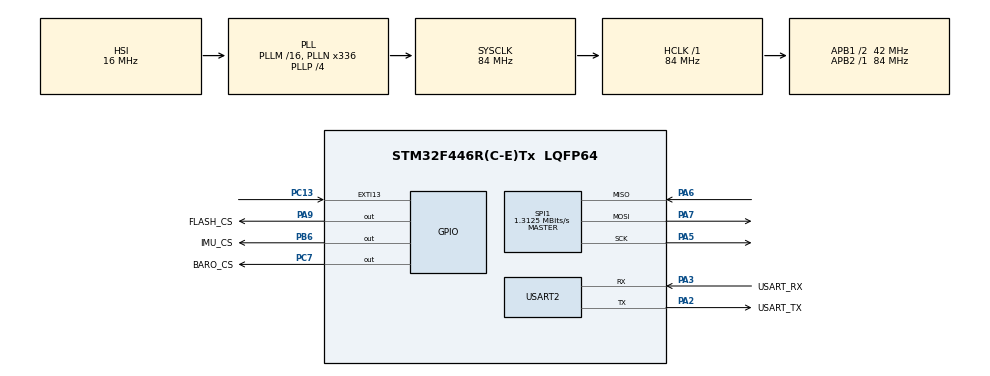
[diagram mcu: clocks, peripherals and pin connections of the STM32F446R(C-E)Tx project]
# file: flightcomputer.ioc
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Mcu.Family=STM32F4
Mcu.Name=STM32F446R(C-E)Tx
Mcu.Package=LQFP64
NUCLEO-F446RE.BUTTON=1
NUCLEO-F446RE.LD1=false
NVIC.EXTI15_10_IRQn=true\:0\:0\:false\:false\:true\:false\:true\:true
NVIC.PriorityGroup=NVIC_PRIORITYGROUP_0
PA13.GPIO_Label=TMS
PA13.Mode=Serial_Wire
PA13.Signal=SYS_JTMS-SWDIO
PA14.GPIO_Label=TCK
PA14.Mode=Serial_Wire
PA14.Signal=SYS_JTCK-SWCLK
PA2.GPIO_Label=USART_TX
PA2.Mode=Asynchronous
PA2.Signal=USART2_TX
PA3.GPIO_Label=USART_RX
PA3.Mode=Asynchronous
PA3.Signal=USART2_RX
PA5.Mode=Full_Duplex_Master
PA5.Signal=SPI1_SCK
PA6.Mode=Full_Duplex_Master
PA6.Signal=SPI1_MISO
PA7.Mode=Full_Duplex_Master
PA7.Signal=SPI1_MOSI
PA9.GPIO_Label=FLASH_CS
PA9.PinState=GPIO_PIN_SET
PA9.Signal=GPIO_Output
PB3.GPIO_Label=SWO
PB3.Signal=SYS_JTDO-SWO
PB6.GPIO_Label=IMU_CS
PB6.GPIO_PuPd=GPIO_NOPULL
PB6.PinState=GPIO_PIN_SET
PB6.Signal=GPIO_Output
PC13.Signal=GPXTI13
PC14-OSC32_IN.Signal=RCC_OSC32_IN
PC15-OSC32_OUT.Signal=RCC_OSC32_OUT
PC7.GPIO_Label=BARO_CS
PC7.PinState=GPIO_PIN_SET
PC7.Signal=GPIO_Output
PH0-OSC_IN.Signal=RCC_OSC_IN
PH1-OSC_OUT.Signal=RCC_OSC_OUT
ProjectManager.HeapSize=0x200
ProjectManager.StackSize=0x400
ProjectManager.TargetToolchain=STM32CubeIDE
RCC.AHBFreq_Value=84000000
RCC.APB1CLKDivider=RCC_HCLK_DIV2
RCC.APB1Freq_Value=42000000
RCC.APB1TimFreq_Value=84000000
RCC.APB2Freq_Value=84000000
RCC.APB2TimFreq_Value=84000000
RCC.CortexFreq_Value=84000000
RCC.FLatency-AdvancedSettings=FLASH_LATENCY_2
RCC.HCLKFreq_Value=84000000
RCC.HSE_VALUE=8000000
RCC.HSI_VALUE=16000000
RCC.LSE_VALUE=32768
RCC.PLLN=336
RCC.PLLP=RCC_PLLP_DIV4
RCC.SYSCLKFreq_VALUE=84000000
RCC.SYSCLKSource=RCC_SYSCLKSOURCE_PLLCLK
RCC.USBFreq_Value=168000000
RCC.VCOOutputFreq_Value=336000000
SPI1.BaudRatePrescaler=SPI_BAUDRATEPRESCALER_64
SPI1.CLKPhase=SPI_PHASE_2EDGE
SPI1.CLKPolarity=SPI_POLARITY_HIGH
SPI1.CalculateBaudRate=1.3125 MBits/s
SPI1.Direction=SPI_DIRECTION_2LINES
SPI1.Mode=SPI_MODE_MASTER
SPI1.VirtualType=VM_MASTER
USART2.VirtualMode=VM_ASYNC
VP_NUCLEO-F446RE_VS_BSP_COMMON.Mode=COMMON
board=NUCLEO-F446RE

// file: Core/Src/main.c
/* USER CODE BEGIN Header */
/**
  ******************************************************************************
  * @file           : main.c
  * @brief          : Main program body
  ******************************************************************************
  * @attention
  *
  * Copyright (c) 2026 STMicroelectronics.
  * All rights reserved.
  *
  * This software is licensed under terms that can be found in the LICENSE file
  * in the root directory of this software component.
  * If no LICENSE file comes with this software, it is provided AS-IS.
  *
  ******************************************************************************
  */
/* USER CODE END Header */
#include "main.h"

/* USER CODE BEGIN Includes */
#include "imu.h"
#include "baro.h"
#include "flash.h"
#include "benchmark.h"
#include <stdio.h>
#include <string.h>
/* USER CODE END Includes */

/* Button state */
#define BUTTON_RELEASED                    0U
#define BUTTON_PRESSED                     1U

__IO uint32_t BspButtonState = BUTTON_RELEASED;
SPI_HandleTypeDef hspi1;

UART_HandleTypeDef huart2;

/* USER CODE BEGIN PV */
static imu_data_t imu_data;
static imu_status_t imu_status;

static char uart_buf[200];
static uint32_t imu_error_count = 0;
static baro_data_t baro_data;
static baro_status_t baro_status;
static uint8_t baro_ready = 0;
/* USER CODE END PV */

void SystemClock_Config(void);
static void MX_GPIO_Init(void);
static void MX_USART2_UART_Init(void);
static void MX_SPI1_Init(void);

/* USER CODE BEGIN 0 */

static void uart_print(const char *message)
{
    HAL_UART_Transmit(&huart2,
                      (uint8_t *)message,
                      (uint16_t)strlen(message),
                      100);
}

/* USER CODE END 0 */

int main(void)
{

  /* MCU Configuration--------------------------------------------------------*/

  /* Reset of all peripherals, Initializes the Flash interface and the Systick. */
  HAL_Init();

  /* Configure the system clock */
  SystemClock_Config();

  /* Initialize all configured peripherals */
  MX_GPIO_Init();
  MX_USART2_UART_Init();
  MX_SPI1_Init();
  /* USER CODE BEGIN 2 */

  /* Enable SPI so SCK idles high (SPI mode 3) */
  __HAL_SPI_ENABLE(&hspi1);
  HAL_Delay(10);

  uart_print("\r\nBoot OK\r\n");

  /* ---------- IMU ---------- */
  imu_status = imu_init();
  if (imu_status == IMU_OK)
  {
      uart_print("IMU OK\r\n");
  }
  else
  {
      snprintf(uart_buf, sizeof(uart_buf), "IMU init failed: %d\r\n", (int)imu_status);
      uart_print(uart_buf);
  }

  /* ---------- Barometer ---------- */
  uint8_t baro_id = 0;
  baro_status = baro_read_reg(0x00, &baro_id);
  snprintf(uart_buf, sizeof(uart_buf), "BARO ID: 0x%02X, Status: %d\r\n",
           (unsigned int)baro_id, (int)baro_status);
  uart_print(uart_buf);

  baro_status = baro_init();
  if (baro_status == BARO_OK)
  {
      baro_ready = 1;
      uart_print("BARO OK\r\n");
  }
  else
  {
      snprintf(uart_buf, sizeof(uart_buf), "BARO init failed: %d\r\n", (int)baro_status);
      uart_print(uart_buf);
  }

  /* ---------- Flash: run ONCE at startup ---------- */
  {
      uint8_t flash_id[3] = {0};
      uint32_t test_address = 0xFFF000U;   /* last 4 KB sector */
      uint8_t write_data[8] = { 0x12, 0x34, 0x56, 0x78, 0xAA, 0xBB, 0xCC, 0xDD };
      uint8_t read_data[8]  = {0};
      flash_status_t flash_status;

      flash_status = flash_init();          /* reset + ID check + wait ready */
      flash_read_id(flash_id);
      snprintf(uart_buf, sizeof(uart_buf), "FLASH ID: %02X %02X %02X | Init: %d\r\n",
               (unsigned int)flash_id[0], (unsigned int)flash_id[1],
               (unsigned int)flash_id[2], (int)flash_status);
      uart_print(uart_buf);

      if (flash_status == FLASH_OK)
      {
          flash_status = flash_sector_erase(test_address);
          uart_print(flash_status == FLASH_OK ? "FLASH ERASE OK\r\n" : "FLASH ERASE FAILED\r\n");
      }

      if (flash_status == FLASH_OK)
      {
          flash_status = flash_page_program(test_address, write_data, sizeof(write_data));
          uart_print(flash_status == FLASH_OK ? "FLASH PROGRAM OK\r\n" : "FLASH PROGRAM FAILED\r\n");
      }

      if (flash_status == FLASH_OK)
      {
          flash_status = flash_read(test_address, read_data, sizeof(read_data));
          if (flash_status == FLASH_OK && memcmp(write_data, read_data, sizeof(write_data)) == 0)
          {
              uart_print("FLASH READBACK PASS\r\n");
          }
          else
          {
              uart_print("FLASH READBACK FAILED\r\n");
          }
      }

      snprintf(uart_buf, sizeof(uart_buf), "FLASH FINAL STATUS: %d\r\n", (int)flash_status);
      uart_print(uart_buf);

  }
  benchmark_init();

  const uint32_t iterations = 1000;

  uint32_t min_cycles = UINT32_MAX;
  uint32_t max_cycles = 0;
  uint64_t total_cycles = 0;

  uint32_t failures = 0;

  for (uint32_t i = 0; i < iterations; i++)
  {
      uint32_t start = benchmark_get_cycles();

      imu_status = imu_read(&imu_data);

      uint32_t elapsed =
          benchmark_get_cycles() - start;

      if (imu_status != IMU_OK)
      {
          failures++;
          continue;
      }

      total_cycles += elapsed;

      if (elapsed < min_cycles)
          min_cycles = elapsed;

      if (elapsed > max_cycles)
          max_cycles = elapsed;
  }

  uint32_t successful = iterations - failures;

  if (successful > 0)
  {
      uint32_t avg_cycles =
          (uint32_t)(total_cycles / successful);

      uart_print("\r\n--- IMU POLLING BENCHMARK ---\r\n");

      snprintf(uart_buf, sizeof(uart_buf),
               "Iterations: %lu | Failures: %lu\r\n",
               (unsigned long)iterations,
               (unsigned long)failures);
      uart_print(uart_buf);

      snprintf(uart_buf, sizeof(uart_buf),
               "Average: %lu cycles | %.2f us\r\n",
               (unsigned long)avg_cycles,
               benchmark_cycles_to_us(avg_cycles));
      uart_print(uart_buf);

      snprintf(uart_buf, sizeof(uart_buf),
               "Minimum: %lu cycles | %.2f us\r\n",
               (unsigned long)min_cycles,
               benchmark_cycles_to_us(min_cycles));
      uart_print(uart_buf);

      snprintf(uart_buf, sizeof(uart_buf),
               "Maximum: %lu cycles | %.2f us\r\n",
               (unsigned long)max_cycles,
               benchmark_cycles_to_us(max_cycles));
      uart_print(uart_buf);
  }
  else
  {
      uart_print("BENCHMARK FAILED\r\n");
  }
  /* USER CODE END 2 */

  /* Initialize USER push-button, will be used to trigger an interrupt each time it's pressed.*/
  BSP_PB_Init(BUTTON_USER, BUTTON_MODE_EXTI);

  /* Infinite loop */
  /* USER CODE BEGIN WHILE */

    while (1)
    {
        if (BspButtonState == BUTTON_PRESSED)
        {
            BspButtonState = BUTTON_RELEASED;
            uart_print("Button pressed\r\n");
        }

    /* USER CODE END WHILE */

    /* USER CODE BEGIN 3 */

        /* IMU */
        imu_status = imu_read(&imu_data);
        if (imu_status == IMU_OK)
        {
            snprintf(uart_buf, sizeof(uart_buf),
                     "GX: %.3f GY: %.3f GZ: %.3f | AX: %.3f AY: %.3f AZ: %.3f\r\n",
                     imu_data.gx, imu_data.gy, imu_data.gz,
                     imu_data.ax, imu_data.ay, imu_data.az);
            uart_print(uart_buf);
        }
        else
        {
            imu_error_count++;
            snprintf(uart_buf, sizeof(uart_buf), "IMU read failed: %d | Errors: %lu\r\n",
                     (int)imu_status, (unsigned long)imu_error_count);
            uart_print(uart_buf);
        }

        /* Barometer */
        if (baro_ready)
        {
            baro_status = baro_read(&baro_data);
            if (baro_status == BARO_OK)
            {
                snprintf(uart_buf, sizeof(uart_buf),
                         "Pressure: %.2f Pa | Temp: %.2f C | Altitude: %.2f m\r\n",
                         baro_data.pressure, baro_data.temperature, baro_data.altitude);
                uart_print(uart_buf);
            }
            else if (baro_status != BARO_ERR_NOT_READY)
            {
                snprintf(uart_buf, sizeof(uart_buf), "BARO read failed: %d\r\n", (int)baro_status);
                uart_print(uart_buf);
            }
        }

        HAL_Delay(100);
    }

  /* USER CODE END 3 */
}

void SystemClock_Config(void)
{
  RCC_OscInitTypeDef RCC_OscInitStruct = {0};
  RCC_ClkInitTypeDef RCC_ClkInitStruct = {0};

  /** Configure the main internal regulator output voltage
  */
  __HAL_RCC_PWR_CLK_ENABLE();
  __HAL_PWR_VOLTAGESCALING_CONFIG(PWR_REGULATOR_VOLTAGE_SCALE3);

  /** Initializes the RCC Oscillators according to the specified parameters
  * in the RCC_OscInitTypeDef structure.
  */
  RCC_OscInitStruct.OscillatorType = RCC_OSCILLATORTYPE_HSI;
  RCC_OscInitStruct.HSIState = RCC_HSI_ON;
  RCC_OscInitStruct.HSICalibrationValue = RCC_HSICALIBRATION_DEFAULT;
  RCC_OscInitStruct.PLL.PLLState = RCC_PLL_ON;
  RCC_OscInitStruct.PLL.PLLSource = RCC_PLLSOURCE_HSI;
  RCC_OscInitStruct.PLL.PLLM = 16;
  RCC_OscInitStruct.PLL.PLLN = 336;
  RCC_OscInitStruct.PLL.PLLP = RCC_PLLP_DIV4;
  RCC_OscInitStruct.PLL.PLLQ = 2;
  RCC_OscInitStruct.PLL.PLLR = 2;
  if (HAL_RCC_OscConfig(&RCC_OscInitStruct) != HAL_OK)
  {
    Error_Handler();
  }

  /** Initializes the CPU, AHB and APB buses clocks
  */
  RCC_ClkInitStruct.ClockType = RCC_CLOCKTYPE_HCLK|RCC_CLOCKTYPE_SYSCLK
                              |RCC_CLOCKTYPE_PCLK1|RCC_CLOCKTYPE_PCLK2;
  RCC_ClkInitStruct.SYSCLKSource = RCC_SYSCLKSOURCE_PLLCLK;
  RCC_ClkInitStruct.AHBCLKDivider = RCC_SYSCLK_DIV1;
  RCC_ClkInitStruct.APB1CLKDivider = RCC_HCLK_DIV2;
  RCC_ClkInitStruct.APB2CLKDivider = RCC_HCLK_DIV1;

  if (HAL_RCC_ClockConfig(&RCC_ClkInitStruct, FLASH_LATENCY_2) != HAL_OK)
  {
    Error_Handler();
  }
}

static void MX_SPI1_Init(void)
{

  /* SPI1 parameter configuration*/
  hspi1.Instance = SPI1;
  hspi1.Init.Mode = SPI_MODE_MASTER;
  hspi1.Init.Direction = SPI_DIRECTION_2LINES;
  hspi1.Init.DataSize = SPI_DATASIZE_8BIT;
  hspi1.Init.CLKPolarity = SPI_POLARITY_HIGH;
  hspi1.Init.CLKPhase = SPI_PHASE_2EDGE;
  hspi1.Init.NSS = SPI_NSS_SOFT;
  hspi1.Init.BaudRatePrescaler = SPI_BAUDRATEPRESCALER_64;   /* 84 MHz / 64 = 1.3 MHz */
  hspi1.Init.FirstBit = SPI_FIRSTBIT_MSB;
  hspi1.Init.TIMode = SPI_TIMODE_DISABLE;
  hspi1.Init.CRCCalculation = SPI_CRCCALCULATION_DISABLE;
  hspi1.Init.CRCPolynomial = 10;
  if (HAL_SPI_Init(&hspi1) != HAL_OK)
  {
    Error_Handler();
  }

}

static void MX_USART2_UART_Init(void)
{

  huart2.Instance = USART2;
  huart2.Init.BaudRate = 115200;
  huart2.Init.WordLength = UART_WORDLENGTH_8B;
  huart2.Init.StopBits = UART_STOPBITS_1;
  huart2.Init.Parity = UART_PARITY_NONE;
  huart2.Init.Mode = UART_MODE_TX_RX;
  huart2.Init.HwFlowCtl = UART_HWCONTROL_NONE;
  huart2.Init.OverSampling = UART_OVERSAMPLING_16;
  if (HAL_UART_Init(&huart2) != HAL_OK)
  {
    Error_Handler();
  }

}

static void MX_GPIO_Init(void)
{
  GPIO_InitTypeDef GPIO_InitStruct = {0};

  /* GPIO Ports Clock Enable */
  __HAL_RCC_GPIOC_CLK_ENABLE();
  __HAL_RCC_GPIOH_CLK_ENABLE();
  __HAL_RCC_GPIOA_CLK_ENABLE();
  __HAL_RCC_GPIOB_CLK_ENABLE();

  /*Configure GPIO pin Output Level */
  HAL_GPIO_WritePin(BARO_CS_GPIO_Port, BARO_CS_Pin, GPIO_PIN_SET);

  /*Configure GPIO pin Output Level */
  HAL_GPIO_WritePin(FLASH_CS_GPIO_Port, FLASH_CS_Pin, GPIO_PIN_SET);

  /*Configure GPIO pin Output Level */
  HAL_GPIO_WritePin(IMU_CS_GPIO_Port, IMU_CS_Pin, GPIO_PIN_SET);

  /*Configure GPIO pin : BARO_CS_Pin */
  GPIO_InitStruct.Pin = BARO_CS_Pin;
  GPIO_InitStruct.Mode = GPIO_MODE_OUTPUT_PP;
  GPIO_InitStruct.Pull = GPIO_NOPULL;
  GPIO_InitStruct.Speed = GPIO_SPEED_FREQ_LOW;
  HAL_GPIO_Init(BARO_CS_GPIO_Port, &GPIO_InitStruct);

  /*Configure GPIO pin : FLASH_CS_Pin */
  GPIO_InitStruct.Pin = FLASH_CS_Pin;
  GPIO_InitStruct.Mode = GPIO_MODE_OUTPUT_PP;
  GPIO_InitStruct.Pull = GPIO_NOPULL;
  GPIO_InitStruct.Speed = GPIO_SPEED_FREQ_LOW;
  HAL_GPIO_Init(FLASH_CS_GPIO_Port, &GPIO_InitStruct);

  /*Configure GPIO pin : IMU_CS_Pin */
  GPIO_InitStruct.Pin = IMU_CS_Pin;
  GPIO_InitStruct.Mode = GPIO_MODE_OUTPUT_PP;
  GPIO_InitStruct.Pull = GPIO_NOPULL;
  GPIO_InitStruct.Speed = GPIO_SPEED_FREQ_LOW;
  HAL_GPIO_Init(IMU_CS_GPIO_Port, &GPIO_InitStruct);

}

/**
  * @brief EXTI line detection callbacks
  * @param GPIO_Pin: Specifies the pins connected EXTI line
  * @retval None
  */
void HAL_GPIO_EXTI_Callback(uint16_t GPIO_Pin)
{
  if(GPIO_Pin==USER_BUTTON_PIN)
  {
    BspButtonState = BUTTON_PRESSED;
  }
}

void Error_Handler(void)
{
  __disable_irq();
  while (1)
  {
  }
}
